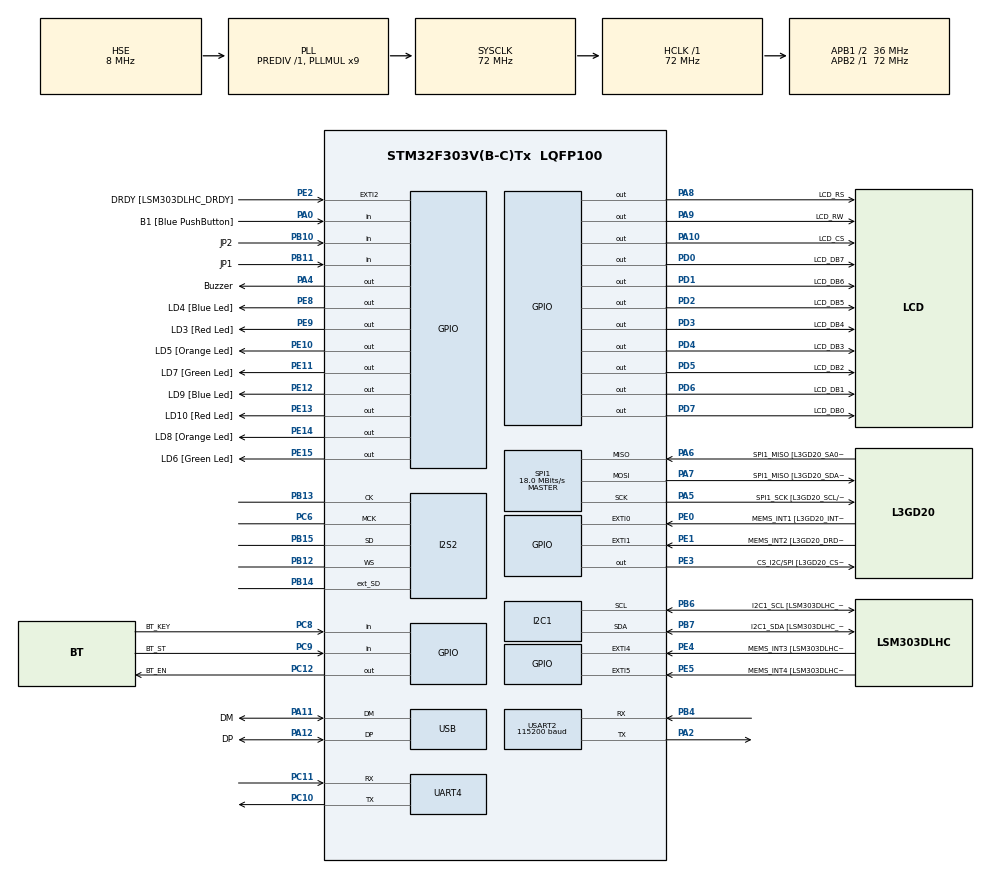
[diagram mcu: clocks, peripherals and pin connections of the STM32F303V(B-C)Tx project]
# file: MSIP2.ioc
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Dma.Request0=SPI2_RX
Dma.Request1=SPI2_TX
Dma.SPI2_RX.0.Direction=DMA_PERIPH_TO_MEMORY
Dma.SPI2_RX.0.Instance=DMA1_Channel4
Dma.SPI2_RX.0.MemDataAlignment=DMA_MDATAALIGN_WORD
Dma.SPI2_RX.0.MemInc=DMA_MINC_ENABLE
Dma.SPI2_RX.0.Mode=DMA_CIRCULAR
Dma.SPI2_RX.0.PeriphDataAlignment=DMA_PDATAALIGN_WORD
Dma.SPI2_RX.0.PeriphInc=DMA_PINC_DISABLE
Dma.SPI2_RX.0.Priority=DMA_PRIORITY_LOW
Dma.SPI2_TX.1.Direction=DMA_MEMORY_TO_PERIPH
Dma.SPI2_TX.1.Instance=DMA1_Channel5
Dma.SPI2_TX.1.MemDataAlignment=DMA_MDATAALIGN_WORD
Dma.SPI2_TX.1.MemInc=DMA_MINC_ENABLE
Dma.SPI2_TX.1.Mode=DMA_CIRCULAR
Dma.SPI2_TX.1.PeriphDataAlignment=DMA_PDATAALIGN_WORD
Dma.SPI2_TX.1.PeriphInc=DMA_PINC_DISABLE
Dma.SPI2_TX.1.Priority=DMA_PRIORITY_LOW
I2C1.Timing-I2C=0x2000090E
I2S2.AudioFreq=I2S_AUDIOFREQ_48K
I2S2.CPOL=I2S_CPOL_HIGH
I2S2.DataFormat=I2S_DATAFORMAT_24B
I2S2.ErrorAudioFreq=-2.34 %
I2S2.FullDuplexMode=I2S_FULLDUPLEXMODE_ENABLE
I2S2.Instance=SPI$Index
I2S2.MCLKOutput=I2S_MCLKOUTPUT_ENABLE
I2S2.Mode=I2S_MODE_MASTER_RX
I2S2.RealAudioFreq=46.875 KHz
I2S2.Standard=I2S_STANDARD_MSB
I2S2.VirtualMode=I2S_MODE_MASTER
Mcu.Family=STM32F3
Mcu.Name=STM32F303V(B-C)Tx
Mcu.Package=LQFP100
NVIC.DMA1_Channel4_IRQn=true\:0\:0\:false\:false\:true\:false\:true
NVIC.DMA1_Channel5_IRQn=true\:0\:0\:false\:false\:true\:false\:true
NVIC.PriorityGroup=NVIC_PRIORITYGROUP_0
NVIC.SPI2_IRQn=true\:0\:0\:false\:false\:true\:true\:true
NVIC.TIM2_IRQn=true\:0\:0\:false\:false\:true\:true\:true
NVIC.TIM3_IRQn=true\:0\:0\:false\:false\:true\:true\:true
NVIC.TIM4_IRQn=true\:0\:0\:false\:false\:true\:true\:true
NVIC.USART2_IRQn=true\:0\:0\:false\:false\:true\:true\:true
NVIC.USB_HP_CAN_TX_IRQn=true\:0\:0\:false\:false\:true\:true\:true
NVIC.USB_LP_CAN_RX0_IRQn=true\:0\:0\:false\:false\:true\:false\:true
PA0.GPIO_Label=B1 [Blue PushButton]
PA0.Signal=GPIO_Input
PA10.GPIO_Label=LCD_CS
PA10.Signal=GPIO_Output
PA11.GPIO_Label=DM
PA11.Mode=Device
PA11.Signal=USB_DM
PA12.GPIO_Label=DP
PA12.Mode=Device
PA12.Signal=USB_DP
PA13.GPIO_Label=SWDIO
PA13.Mode=Serial_Wire
PA13.Signal=SYS_JTMS-SWDIO
PA14.GPIO_Label=SWCLK
PA14.Mode=Serial_Wire
PA14.Signal=SYS_JTCK-SWCLK
PA2.Mode=Asynchronous
PA2.Signal=USART2_TX
PA3.Signal=ADC1_IN4
PA4.GPIO_Label=Buzzer
PA4.Signal=GPIO_Output
PA5.GPIO_Label=SPI1_SCK [L3GD20_SCL/SPC]
PA5.Mode=Full_Duplex_Master
PA5.Signal=SPI1_SCK
PA6.GPIO_Label=SPI1_MISO [L3GD20_SA0/SDO]
PA6.Mode=Full_Duplex_Master
PA6.Signal=SPI1_MISO
PA7.GPIO_Label=SPI1_MISO [L3GD20_SDA/SDI/SDO]
PA7.Mode=Full_Duplex_Master
PA7.Signal=SPI1_MOSI
PA8.GPIO_Label=LCD_RS
PA8.Signal=GPIO_Output
PA9.GPIO_Label=LCD_RW
PA9.Signal=GPIO_Output
PB10.GPIO_Label=JP2
PB10.Signal=GPIO_Input
PB11.GPIO_Label=JP1
PB11.Signal=GPIO_Input
PB12.GPIO_Speed=GPIO_SPEED_FREQ_HIGH
PB12.Mode=Full_Duplex_Master
PB12.Signal=I2S2_WS
PB13.GPIO_Speed=GPIO_SPEED_FREQ_HIGH
PB13.Mode=Full_Duplex_Master
PB13.Signal=I2S2_CK
PB14.GPIO_Speed=GPIO_SPEED_FREQ_HIGH
PB14.Mode=Full_Duplex_Master
PB14.Signal=I2S2_ext_SD
PB15.GPIO_Speed=GPIO_SPEED_FREQ_HIGH
PB15.Mode=Full_Duplex_Master
PB15.Signal=I2S2_SD
PB3.GPIO_Label=SWO
PB3.Signal=SYS_JTDO-TRACESWO
PB4.Mode=Asynchronous
PB4.Signal=USART2_RX
PB6.GPIO_Label=I2C1_SCL [LSM303DLHC_SCL]
PB6.Mode=I2C
PB6.Signal=I2C1_SCL
PB7.GPIO_Label=I2C1_SDA [LSM303DLHC_SDA]
PB7.Mode=I2C
PB7.Signal=I2C1_SDA
PC0.Signal=ADCx_IN6
PC10.Mode=Asynchronous
PC10.Signal=UART4_TX
PC11.Mode=Asynchronous
PC11.Signal=UART4_RX
PC12.GPIO_Label=BT_EN
PC12.Signal=GPIO_Output
PC14-OSC32_IN.GPIO_Label=OSC32_IN
PC14-OSC32_IN.Mode=LSE-External-Oscillator
PC14-OSC32_IN.Signal=RCC_OSC32_IN
PC15-OSC32_OUT.GPIO_Label=OSC32_OUT
PC15-OSC32_OUT.Mode=LSE-External-Oscillator
PC15-OSC32_OUT.Signal=RCC_OSC32_OUT
PC6.GPIO_Speed=GPIO_SPEED_FREQ_HIGH
PC6.Mode=Master_Clock_Activated
PC6.Signal=I2S2_MCK
PC8.GPIO_Label=BT_KEY
PC8.Signal=GPIO_Input
PC9.GPIO_Label=BT_ST
PC9.Signal=GPIO_Input
PD0.GPIO_Label=LCD_DB7
PD0.Signal=GPIO_Output
PD1.GPIO_Label=LCD_DB6
PD1.Signal=GPIO_Output
PD2.GPIO_Label=LCD_DB5
PD2.Signal=GPIO_Output
PD3.GPIO_Label=LCD_DB4
PD3.Signal=GPIO_Output
PD4.GPIO_Label=LCD_DB3
PD4.Signal=GPIO_Output
PD5.GPIO_Label=LCD_DB2
PD5.Signal=GPIO_Output
PD6.GPIO_Label=LCD_DB1
PD6.Signal=GPIO_Output
PD7.GPIO_Label=LCD_DB0
PD7.Signal=GPIO_Output
PE0.GPIO_Label=MEMS_INT1 [L3GD20_INT1]
PE0.GPIO_ModeDefaultEXTI=GPIO_MODE_EVT_RISING
PE0.Signal=GPXTI0
PE1.GPIO_Label=MEMS_INT2 [L3GD20_DRDY/INT2]
PE1.GPIO_ModeDefaultEXTI=GPIO_MODE_EVT_RISING
PE1.Signal=GPXTI1
PE10.GPIO_Label=LD5 [Orange Led]
PE10.Signal=GPIO_Output
PE11.GPIO_Label=LD7 [Green Led]
PE11.Signal=GPIO_Output
PE12.GPIO_Label=LD9 [Blue Led]
PE12.Signal=GPIO_Output
PE13.GPIO_Label=LD10 [Red Led]
PE13.Signal=GPIO_Output
PE14.GPIO_Label=LD8 [Orange Led]
PE14.Signal=GPIO_Output
PE15.GPIO_Label=LD6 [Green Led]
PE15.Signal=GPIO_Output
PE2.GPIO_Label=DRDY [LSM303DLHC_DRDY]
PE2.GPIO_ModeDefaultEXTI=GPIO_MODE_EVT_RISING
PE2.Signal=GPXTI2
PE3.GPIO_Label=CS_I2C/SPI [L3GD20_CS_I2C/SPI]
PE3.Signal=GPIO_Output
PE4.GPIO_Label=MEMS_INT3 [LSM303DLHC_INT1]
PE4.GPIO_ModeDefaultEXTI=GPIO_MODE_EVT_RISING
PE4.Signal=GPXTI4
PE5.GPIO_Label=MEMS_INT4 [LSM303DLHC_INT2]
PE5.GPIO_ModeDefaultEXTI=GPIO_MODE_EVT_RISING
PE5.Signal=GPXTI5
PE8.GPIO_Label=LD4 [Blue Led]
PE8.Signal=GPIO_Output
PE9.GPIO_Label=LD3 [Red Led]
PE9.Signal=GPIO_Output
PF0-OSC_IN.GPIO_Label=OSC_IN
PF0-OSC_IN.Mode=HSE-External-Clock-Source
PF0-OSC_IN.Signal=RCC_OSC_IN
PF1-OSC_OUT.GPIO_Label=OSC_OUT
PF1-OSC_OUT.Signal=RCC_OSC_OUT
PF4.Signal=ADC1_IN5
ProjectManager.HeapSize=0x1000
ProjectManager.StackSize=0x1000
ProjectManager.TargetToolchain=Makefile
RCC.AHBFreq_Value=72000000
RCC.APB1CLKDivider=RCC_HCLK_DIV2
RCC.APB1Freq_Value=36000000
RCC.APB1TimFreq_Value=72000000
RCC.APB2Freq_Value=72000000
RCC.APB2TimFreq_Value=72000000
RCC.CortexFreq_Value=72000000
RCC.HCLKFreq_Value=72000000
RCC.HSE_VALUE=8000000
RCC.HSI_VALUE=8000000
RCC.PLLMUL=RCC_PLL_MUL9
RCC.PRESCALERUSB=RCC_USBCLKSOURCE_PLL_DIV1_5
RCC.SYSCLKFreq_VALUE=72000000
RCC.SYSCLKSourceVirtual=RCC_SYSCLKSOURCE_PLLCLK
RCC.USBFreq_Value=48000000
SH.ADCx_IN6.0=ADC1_IN6
SPI1.BaudRatePrescaler=SPI_BAUDRATEPRESCALER_4
SPI1.BaudRatePrescaler-Full_Duplex_Master=SPI_BAUDRATEPRESCALER_2
SPI1.CalculateBaudRate=18.0 MBits/s
SPI1.CalculateBaudRate-Full_Duplex_Master=24.0 MBits/s
SPI1.Direction=SPI_DIRECTION_2LINES
SPI1.Mode=SPI_MODE_MASTER
SPI1.Mode-Full_Duplex_Master=SPI_MODE_MASTER
SPI1.VirtualType=VM_MASTER
TIM2.Period=75-1
TIM2.Prescaler=10-1
TIM3.Period=75-1
TIM3.Prescaler=10-1
TIM4.Period=1000-1
TIM4.Prescaler=7200-1
USART2.BaudRate=115200
USART2.VirtualMode-Asynchronous=VM_ASYNC
USB_DEVICE.CLASS_NAME_FS=CDC
USB_DEVICE.VirtualMode=Cdc
USB_DEVICE.VirtualModeFS=Cdc_FS
VP_TIM2_VS_ClockSourceINT.Mode=Internal
VP_TIM2_VS_ClockSourceITR.Mode=TriggerSource_ITR0
VP_TIM2_VS_ControllerModeReset.Mode=Reset Mode
VP_TIM3_VS_ClockSourceINT.Mode=Internal
VP_TIM3_VS_ClockSourceITR.Mode=TriggerSource_ITR0
VP_TIM3_VS_ControllerModeReset.Mode=Reset Mode
VP_TIM4_VS_ClockSourceINT.Mode=Internal
VP_TIM4_VS_ClockSourceITR.Mode=TriggerSource_ITR0
VP_TIM4_VS_ControllerModeReset.Mode=Reset Mode
VP_USB_DEVICE_VS_USB_DEVICE_CDC_FS.Mode=CDC_FS
board=STM32F3DISCOVERY

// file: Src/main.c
/* USER CODE BEGIN Header */
/**
 ******************************************************************************
 * @file           : main.c
 * @brief          : Main program body
 ******************************************************************************
 * @attention
 *
 * <h2><center>&copy; Copyright (c) 2022 STMicroelectronics.
 * All rights reserved.</center></h2>
 *
 * This software component is licensed by ST under Ultimate Liberty license
 * SLA0044, the "License"; You may not use this file except in compliance with
 * the License. You may obtain a copy of the License at:
 *                             www.st.com/SLA0044
 *
 ******************************************************************************
 */
/* USER CODE END Header */

#include "main.h"
#include "dma.h"
#include "i2c.h"
#include "i2s.h"
#include "spi.h"
#include "tim.h"
#include "usart.h"
#include "usb_device.h"
#include "gpio.h"
#include "led.h"

/* USER CODE BEGIN Includes */
#define MSIP_VERSION 22
/* USER CODE END Includes */

void SystemClock_Config(void);

/* USER CODE BEGIN 0 */
uint8_t JP2_MODE = 0, JP1_MODE = 0;
uint8_t TX_Flag = 0;

uint8_t ButtonPressed = 0;
uint8_t TransferFlag = 0;
// maybe use 4byte in and 3 byte out?
uint16_t SignalTmp[32] = {0x00};
uint8_t BufSize = 4;
uint32_t lSample = 0, rSample = 0;
uint8_t FLAG_half = 0, FLAG_comp = 0;

/* USER CODE END 0 */

int main(void)
{

  /* MCU Configuration--------------------------------------------------------*/

  /* Reset of all peripherals, Initializes the Flash interface and the Systick. */
  HAL_Init();

  /* Configure the system clock */
  SystemClock_Config();

  /* Initialize all configured peripherals */
  MX_GPIO_Init();
  MX_DMA_Init();
  MX_I2C1_Init();
  MX_SPI1_Init();
  MX_TIM2_Init();
  MX_TIM3_Init();
  MX_TIM4_Init();
  MX_I2S2_Init();
  MX_UART4_Init();
  MX_USART2_UART_Init();
  MX_USB_DEVICE_Init();
  /* USER CODE BEGIN 2 */
  HAL_TIM_Base_Start_IT(&htim3);
  HAL_TIM_Base_Start_IT(&htim4);
  HAL_I2S_Receive_DMA(&hi2s2, (uint16_t *)&SignalTmp[0], BufSize);
  /* USER CODE END 2 */

  /* Infinite loop */
  /* USER CODE BEGIN WHILE */
  while (1)
  {
    if (HAL_GPIO_ReadPin(BT_KEY_GPIO_Port, BT_KEY_Pin) == 1)
      ButtonPressed = 1;

    if (ButtonPressed)
    {
      if (!TransferFlag)
      {
        HAL_TIM_Base_Start_IT(&htim2);
        HAL_GPIO_WritePin(LD7_GPIO_Port, LD7_Pin, GPIO_PIN_SET);
      }
      else
      {
        HAL_TIM_Base_Stop_IT(&htim2);
        HAL_GPIO_WritePin(LD7_GPIO_Port, LD7_Pin, GPIO_PIN_RESET);
        HAL_GPIO_WritePin(LD4_GPIO_Port, LD4_Pin, GPIO_PIN_RESET);
        HAL_GPIO_WritePin(LD5_GPIO_Port, LD5_Pin, GPIO_PIN_RESET);
      }

      TransferFlag ^= 1;
      ButtonPressed = 0;
    }
    /* USER CODE END WHILE */

    /* USER CODE BEGIN 3 */

#if 0
    if (TransferFlag)
    {
      if (FLAG_half)
      {
        FLAG_half = 0;
        // add your code: data shift [0:250]...
        // CDC_Transmit_FS(&SignalTmp[0], 2 * BufSize);
        CDC_Transmit_FS(&lSample, 4);
        CDC_Transmit_FS(&rSample, 4);
      }
      if (FLAG_comp)
      {
        FLAG_comp = 0;
        // CDC_Transmit_FS(&SignalTmp[BufSize], 2 * BufSize);
        CDC_Transmit_FS(&lSample, 4);
        CDC_Transmit_FS(&rSample, 4);
      }
    }
#endif
  }
  /* USER CODE END 3 */
}

void SystemClock_Config(void)
{
  RCC_OscInitTypeDef RCC_OscInitStruct = {0};
  RCC_ClkInitTypeDef RCC_ClkInitStruct = {0};
  RCC_PeriphCLKInitTypeDef PeriphClkInit = {0};

  /** Initializes the CPU, AHB and APB busses clocks
   */
  RCC_OscInitStruct.OscillatorType = RCC_OSCILLATORTYPE_HSI | RCC_OSCILLATORTYPE_HSE;
  RCC_OscInitStruct.HSEState = RCC_HSE_BYPASS;
  RCC_OscInitStruct.HSEPredivValue = RCC_HSE_PREDIV_DIV1;
  RCC_OscInitStruct.HSIState = RCC_HSI_ON;
  RCC_OscInitStruct.HSICalibrationValue = RCC_HSICALIBRATION_DEFAULT;
  RCC_OscInitStruct.PLL.PLLState = RCC_PLL_ON;
  RCC_OscInitStruct.PLL.PLLSource = RCC_PLLSOURCE_HSE;
  RCC_OscInitStruct.PLL.PLLMUL = RCC_PLL_MUL9;
  if (HAL_RCC_OscConfig(&RCC_OscInitStruct) != HAL_OK)
  {
    Error_Handler();
  }
  /** Initializes the CPU, AHB and APB busses clocks
   */
  RCC_ClkInitStruct.ClockType = RCC_CLOCKTYPE_HCLK | RCC_CLOCKTYPE_SYSCLK | RCC_CLOCKTYPE_PCLK1 | RCC_CLOCKTYPE_PCLK2;
  RCC_ClkInitStruct.SYSCLKSource = RCC_SYSCLKSOURCE_PLLCLK;
  RCC_ClkInitStruct.AHBCLKDivider = RCC_SYSCLK_DIV1;
  RCC_ClkInitStruct.APB1CLKDivider = RCC_HCLK_DIV2;
  RCC_ClkInitStruct.APB2CLKDivider = RCC_HCLK_DIV1;

  if (HAL_RCC_ClockConfig(&RCC_ClkInitStruct, FLASH_LATENCY_2) != HAL_OK)
  {
    Error_Handler();
  }
  PeriphClkInit.PeriphClockSelection = RCC_PERIPHCLK_USB | RCC_PERIPHCLK_USART2 | RCC_PERIPHCLK_UART4 | RCC_PERIPHCLK_I2C1;
  PeriphClkInit.Usart2ClockSelection = RCC_USART2CLKSOURCE_PCLK1;
  PeriphClkInit.Uart4ClockSelection = RCC_UART4CLKSOURCE_PCLK1;
  PeriphClkInit.I2c1ClockSelection = RCC_I2C1CLKSOURCE_HSI;
  PeriphClkInit.USBClockSelection = RCC_USBCLKSOURCE_PLL_DIV1_5;
  if (HAL_RCCEx_PeriphCLKConfig(&PeriphClkInit) != HAL_OK)
  {
    Error_Handler();
  }
}

/* USER CODE BEGIN 4 */
void HAL_I2S_RxHalfCpltCallback(I2S_HandleTypeDef *hi2s)
{
  // lSample = (int)(SignalTmp[0] << 16) | SignalTmp[1];
  // rSample = (int)(SignalTmp[2] << 16) | SignalTmp[3];
  // SignalTmp[0] = 0xFF00;
  // SignalTmp[1] = 0x2d74;
  memcpy(&lSample, &SignalTmp[0], 4);
  // SignalTmp[2] = 0xFF00;
  // SignalTmp[3] = 0x8076;
  memcpy(&rSample, &SignalTmp[2], 4);
  FLAG_half = 1; // fill buffer half
  BlinkLED(3);
}

void HAL_I2S_RxCpltCallback(I2S_HandleTypeDef *hi2s)
{
  // lSample = (int)(SignalTmp[4] << 16) | SignalTmp[5];
  // rSample = (int)(SignalTmp[6] << 16) | SignalTmp[7];
  // SignalTmp[4] = 0xFF00;
  // SignalTmp[5] = 0x2d74;
  memcpy(&lSample, &SignalTmp[4], 4);
  // SignalTmp[6] = 0xFF00;
  // SignalTmp[7] = 0x8076;
  memcpy(&rSample, &SignalTmp[6], 4);
  FLAG_comp = 1;
  BlinkLED(4);
}
/* USER CODE END 4 */

void Error_Handler(void)
{
}

/************************ (C) COPYRIGHT STMicroelectronics *****END OF FILE****/
